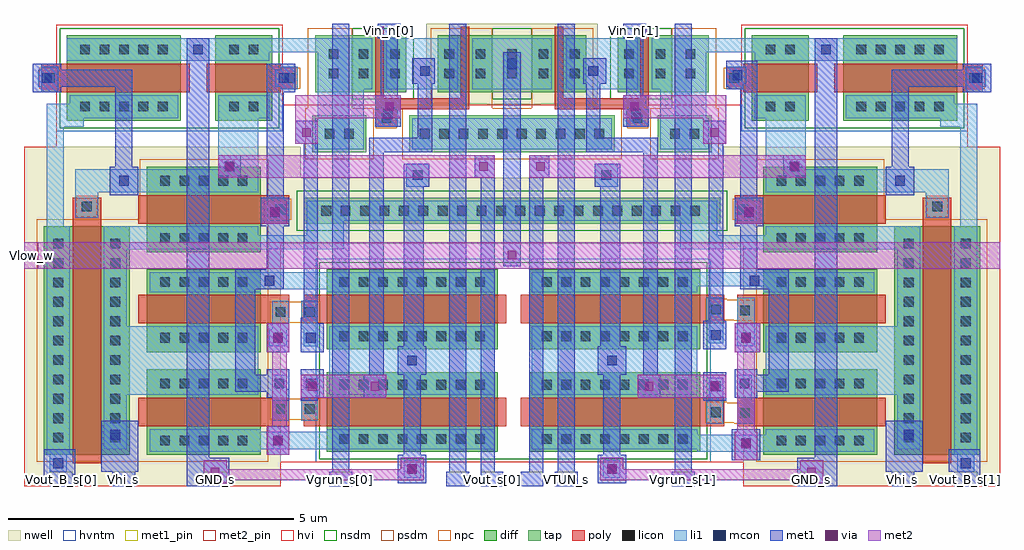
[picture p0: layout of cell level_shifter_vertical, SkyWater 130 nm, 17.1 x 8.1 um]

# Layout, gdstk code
import gdstk
lib = gdstk.Library(unit=1e-6, precision=1e-09)
def R(c, l, rs):  # rectangles x0, y0, x1, y1
    for r in rs: c.add(gdstk.rectangle(r[:2], r[2:], *l))
def A(c, l, x, y, w, h, nx, ny, dx, dy):  # array of equal rectangles
    R(c, l, [(x+i*dx, y+j*dy, x+i*dx+w, y+j*dy+h) for i in range(nx) for j in range(ny)])
nwell = (64, 20)
diff = (65, 20)
tap = (65, 44)
poly = (66, 20)
licon = (66, 44)
li1 = (67, 20)
mcon = (67, 44)
met1_pin = (68, 16)
met1 = (68, 20)
via = (68, 44)
met2_pin = (69, 16)
met2 = (69, 20)
hvi = (75, 20)
nsdm = (93, 44)
psdm = (94, 20)
npc = (95, 20)
hvntm = (125, 20)

level_shifter_vertical = lib.new_cell('level_shifter_vertical')
R(level_shifter_vertical, nwell, [(35.05,15.75,39.55,20), (47.65,15.75,52.15,20), (35.05,20,52.15,21.15), (35.05,21.15,39.9,21.7), (47.3,21.15,52.15,21.7), (43.165,22.445,44.105,22.45), (42.1,22.45,45.1,23.85)])
R(level_shifter_vertical, diff, [(35.4,16.3,36.9,20.3), (37.2,16.3,39.2,17.8), (48,16.3,50,17.8), (50.3,16.3,51.8,20.3), (40.35,16.35,43.35,17.75), (43.9,16.35,46.9,17.75), (37.2,18.1,39.2,19.55), (48,18.1,50,19.55), (40.35,18.15,43.35,19.55), (43.9,18.15,46.9,19.55), (37.2,19.85,39.2,21.35), (48,19.85,50,21.35), (35.8,22.15,37.8,23.65), (38.4,22.15,39.4,23.65), (47.8,22.15,48.8,23.65), (49.4,22.15,51.4,23.65), (40.8,22.65,41.75,23.65), (42.3,22.65,43.25,23.65), (43.95,22.65,44.9,23.65), (45.45,22.65,46.4,23.65)])
R(level_shifter_vertical, tap, [(39.95,20.35,47.25,20.8), (40.1,21.6,41.05,22.25), (41.8,21.6,45.4,22.25), (46.15,21.6,47.1,22.25), (40.15,22.65,40.8,23.65), (43.25,22.65,43.95,23.65), (46.4,22.65,47.05,23.65)])
R(level_shifter_vertical, poly, [(35.9,16.15,36.4,20.8), (50.8,16.15,51.3,20.8), (37.05,16.8,39.7,17.3), (39.95,16.8,43.5,16.9), (43.75,16.8,47.315,17.3), (47.545,16.8,50.15,17.3), (39.91,16.9,43.5,17.3), (37.05,18.6,39.7,19.1), (39.91,18.6,43.5,19), (43.75,18.6,47.315,19.1), (47.545,18.6,50.15,19.1), (39.95,19,43.5,19.1), (37.05,20.35,39.7,20.85), (47.5,20.35,50.15,20.85), (41.2,22.05,41.6,22.35), (45.6,22.05,46,22.35), (41.2,22.35,42.85,22.55), (44.35,22.35,46,22.55), (41.2,22.55,41.35,23.8), (42.7,22.55,42.85,23.8), (44.35,22.55,44.5,23.8), (45.85,22.55,46,23.8), (35.35,22.65,37.95,23.15), (38.25,22.65,39.55,22.7), (47.65,22.65,48.95,22.7), (49.25,22.65,51.85,23.15), (38.25,22.7,39.85,23.1), (47.35,22.7,48.95,23.1), (38.25,23.1,39.55,23.15), (47.65,23.1,48.95,23.15)])
A(level_shifter_vertical, licon, 37.435, 16.465, 0.17, 0.17, 5, 2, 0.34, 1)
A(level_shifter_vertical, licon, 48.235, 16.465, 0.17, 0.17, 5, 2, 0.34, 1)
A(level_shifter_vertical, licon, 40.575, 16.49, 0.17, 0.17, 8, 2, 0.34, 0.95)
A(level_shifter_vertical, licon, 44.125, 16.49, 0.17, 0.17, 8, 2, 0.34, 0.95)
A(level_shifter_vertical, licon, 35.565, 16.515, 0.17, 0.17, 1, 11, 0, 0.34)
A(level_shifter_vertical, licon, 36.565, 16.515, 0.17, 0.17, 1, 11, 0, 0.34)
A(level_shifter_vertical, licon, 50.465, 16.515, 0.17, 0.17, 1, 11, 0, 0.34)
A(level_shifter_vertical, licon, 51.465, 16.515, 0.17, 0.17, 1, 11, 0, 0.34)
A(level_shifter_vertical, licon, 37.435, 18.265, 0.17, 0.17, 5, 2, 0.34, 0.975)
A(level_shifter_vertical, licon, 48.235, 18.265, 0.17, 0.17, 5, 2, 0.34, 0.975)
A(level_shifter_vertical, licon, 40.575, 18.29, 0.17, 0.17, 8, 2, 0.34, 0.95)
A(level_shifter_vertical, licon, 44.125, 18.29, 0.17, 0.17, 8, 2, 0.34, 0.95)
A(level_shifter_vertical, licon, 37.435, 20.015, 0.17, 0.17, 5, 2, 0.34, 1)
A(level_shifter_vertical, licon, 48.235, 20.015, 0.17, 0.17, 5, 2, 0.34, 1)
A(level_shifter_vertical, licon, 40.26, 20.49, 0.17, 0.17, 20, 1, 0.34, 0)
A(level_shifter_vertical, licon, 41.985, 21.84, 0.17, 0.17, 10, 1, 0.34, 0)
A(level_shifter_vertical, licon, 36.035, 22.315, 0.17, 0.17, 5, 2, 0.34, 1)
A(level_shifter_vertical, licon, 49.635, 22.315, 0.17, 0.17, 5, 2, 0.34, 1)
A(level_shifter_vertical, licon, 42.415, 22.895, 0.17, 0.17, 5, 2, 0.55, 0.34)
R(level_shifter_vertical, licon, [(47.595,16.945,47.765,17.115), (47.09,16.96,47.26,17.13), (39.46,17.015,39.63,17.185), (39.97,17.015,40.14,17.185), (39.46,18.715,39.63,18.885), (39.97,18.715,40.14,18.885), (47.595,18.745,47.765,18.915), (47.09,18.76,47.26,18.93), (39.465,20.515,39.635,20.685), (47.565,20.515,47.735,20.685), (36.065,20.565,36.235,20.735), (50.965,20.565,51.135,20.735), (40.32,21.84,40.49,22.01), (40.66,21.84,40.83,22.01), (46.37,21.84,46.54,22.01), (46.71,21.84,46.88,22.01), (41.315,22.12,41.485,22.29), (45.715,22.12,45.885,22.29), (38.645,22.315,38.815,22.485), (38.985,22.315,39.155,22.485), (48.045,22.315,48.215,22.485), (48.385,22.315,48.555,22.485), (35.415,22.815,35.585,22.985), (39.62,22.815,39.79,22.985), (47.41,22.815,47.58,22.985), (51.615,22.815,51.785,22.985), (40.39,22.895,40.56,23.065), (40.915,22.895,41.085,23.065), (41.465,22.895,41.635,23.065), (45.565,22.895,45.735,23.065), (46.115,22.895,46.285,23.065), (46.64,22.895,46.81,23.065), (40.39,23.235,40.56,23.405), (40.915,23.235,41.085,23.405), (41.465,23.235,41.635,23.405), (45.565,23.235,45.735,23.405), (46.115,23.235,46.285,23.405), (46.64,23.235,46.81,23.405), (38.645,23.315,38.815,23.485), (38.985,23.315,39.155,23.485), (48.045,23.315,48.215,23.485), (48.385,23.315,48.555,23.485)])
R(level_shifter_vertical, li1, [(41.7,15.9,42,16.2), (45.2,15.9,45.5,16.2), (35.5,16,35.8,16.3), (51.4,16,51.7,16.3), (35.45,16.3,35.85,20.3), (51.35,16.3,51.75,20.3), (37.25,16.35,39.2,16.4), (46.85,16.35,49.95,16.4), (36.45,16.4,36.85,17.35), (37.25,16.4,43.3,16.7), (43.95,16.4,49.95,16.65), (50.35,16.4,50.75,17.35), (43.95,16.65,46.855,16.7), (48.05,16.65,49.95,16.75), (37.25,16.7,39.2,16.75), (40.35,16.7,43.3,16.75), (43.95,16.7,46.85,16.75), (47.55,16.84,47.85,17.25), (47,16.845,47.3,17.25), (39.4,16.9,39.69,17.25), (39.91,16.9,40.2,17.25), (39.4,17.25,39.7,17.45), (39.9,17.25,40.2,17.45), (47.05,17.25,47.3,17.65), (47.55,17.25,47.8,17.7), (36.45,17.35,39.15,18.55), (40.4,17.35,43.3,18.55), (43.95,17.35,46.85,18.55), (48.05,17.35,50.75,18.55), (39.4,17.45,39.65,17.7), (39.95,17.45,40.2,17.7), (39.35,18.2,39.65,18.5), (39.95,18.2,40.2,18.5), (47.55,18.2,47.85,19.05), (47.05,18.25,47.3,18.645), (39.4,18.5,39.7,18.7), (39.9,18.5,40.2,18.7), (36.45,18.55,36.85,19.9), (50.35,18.55,50.75,19.9), (47,18.645,47.3,19.05), (39.4,18.7,39.69,19), (39.91,18.7,40.2,19), (37.25,19.15,39.2,19.2), (40.35,19.15,43.3,19.2), (43.95,19.15,46.85,19.25), (48,19.15,49.95,19.25), (37.25,19.2,43.3,19.5), (43.95,19.25,49.95,19.5), (36.45,19.9,40.65,20.15), (46.55,19.9,50.75,20.15), (36.45,20.15,39.15,20.3), (40,20.15,40.65,20.4), (46.55,20.15,47.2,20.4), (48.05,20.15,50.75,20.3), (35.45,20.3,35.75,22.05), (51.45,20.3,51.75,22.05), (39.3,20.4,39.7,20.8), (40,20.4,47.2,20.75), (47.5,20.4,47.9,20.8), (35.95,20.45,36.35,20.9), (50.85,20.45,51.25,20.9), (35.95,20.9,39.15,21.3), (48.05,20.9,51.25,21.3), (41.75,21,42.15,21.4), (45.05,21,45.45,21.4), (38.45,21.3,39.15,22.2), (48.05,21.3,48.75,22.2), (40.15,21.65,41,22.2), (41.85,21.65,45.35,22.2), (46.2,21.65,47.05,22.2), (35.45,22.05,36.1,22.2), (41.2,22.05,41.6,22.35), (45.6,22.05,46,22.35), (51.1,22.05,51.75,22.2), (35.45,22.2,37.75,22.45), (38.45,22.2,39.35,22.6), (40.2,22.2,41,22.7), (46.2,22.2,47,22.7), (47.85,22.2,48.75,22.6), (49.45,22.2,51.75,22.45), (41.3,22.35,41.55,22.4), (45.65,22.35,45.9,22.4), (35.85,22.45,37.75,22.6), (49.45,22.45,51.35,22.6), (35.35,22.65,35.65,22.75), (51.55,22.65,51.85,22.75), (39.55,22.7,39.85,22.75), (40.2,22.7,41.15,23.35), (41.4,22.7,42.65,23.6), (42.9,22.7,44.3,23.6), (44.55,22.7,45.8,23.6), (46.05,22.7,47,23.35), (47.35,22.7,47.65,22.8), (35.3,22.75,35.65,23.05), (39.45,22.75,39.85,23.05), (51.55,22.75,51.9,23.05), (47.35,22.8,47.7,23.1), (35.35,23.05,35.65,23.1), (39.55,23.05,39.85,23.1), (51.55,23.05,51.85,23.1), (35.8,23.2,39.35,23.35), (47.85,23.2,51.4,23.35), (35.8,23.35,41.15,23.6), (46.05,23.35,51.4,23.6)])
R(level_shifter_vertical, mcon, [(41.765,15.965,41.935,16.135), (45.265,15.965,45.435,16.135), (35.565,16.065,35.735,16.235), (51.465,16.065,51.635,16.235), (47.615,16.415,47.785,16.585), (39.415,16.465,39.585,16.635), (36.565,16.565,36.735,16.735), (50.465,16.565,50.635,16.735), (47.09,17.415,47.26,17.585), (39.44,17.465,39.61,17.635), (39.99,17.465,40.16,17.635), (47.59,17.465,47.76,17.635), (41.765,17.865,41.935,18.035), (45.265,17.865,45.435,18.035), (39.415,18.265,39.585,18.435), (39.99,18.265,40.16,18.435), (47.615,18.265,47.785,18.435), (47.09,18.315,47.26,18.485), (39.265,19.265,39.435,19.435), (47.765,19.265,47.935,19.435), (39.365,20.465,39.535,20.635), (47.665,20.465,47.835,20.635), (36.715,21.015,36.885,21.185), (50.315,21.015,50.485,21.185), (41.865,21.115,42.035,21.285), (45.165,21.115,45.335,21.285), (38.565,21.265,38.735,21.435), (48.465,21.265,48.635,21.435), (41.34,22.19,41.51,22.36), (45.69,22.19,45.86,22.36), (35.365,22.815,35.535,22.985), (39.515,22.815,39.685,22.985), (51.665,22.815,51.835,22.985), (47.465,22.865,47.635,23.035), (41.99,22.94,42.16,23.11), (44.94,22.94,45.11,23.11), (43.515,23.065,43.685,23.235), (38.015,23.315,38.185,23.485), (49.015,23.315,49.185,23.485)])
R(level_shifter_vertical, met1_pin, [(35.5,15.75,35.9,16), (36.6,15.75,37,16), (38.2,15.75,38.6,16), (40.4,15.75,40.8,16), (42.45,15.75,42.85,16), (43.05,15.75,43.45,16), (43.75,15.75,44.15,16), (44.35,15.75,44.75,16), (46.4,15.75,46.8,16), (48.65,15.75,49.05,16), (50.25,15.75,50.65,16), (51.35,15.75,51.75,16), (41.25,23.6,41.65,23.85), (45.55,23.6,45.95,23.85)])
R(level_shifter_vertical, met1, [(35.5,15.75,35.9,15.9), (36.6,15.75,37,16), (37.9,15.75,38.65,16.25), (40.4,15.75,40.8,16), (42.45,15.75,42.85,16), (43.05,15.75,43.45,16), (43.75,15.75,44.15,16), (44.35,15.75,44.75,16), (46.4,15.75,46.8,16), (48.6,15.75,49.3,16.25), (50.25,15.75,50.65,16), (51.35,15.75,51.75,15.9), (41.6,15.8,42.1,16.3), (45.1,15.8,45.6,16.3), (35.4,15.9,35.9,15.95), (51.35,15.9,51.8,16), (35.4,15.95,35.95,16.4), (36.4,16,37.05,16.9), (40.45,16,40.75,23.85), (42.5,16,42.8,23.85), (43.05,16,43.3,21.15), (43.9,16,44.15,21.15), (44.4,16,44.7,23.85), (46.45,16,46.75,23.85), (50.15,16,50.8,16.9), (51.25,16,51.8,16.4), (47.45,16.2,47.95,16.75), (37.9,16.25,38.3,23.6), (48.9,16.25,49.3,23.6), (39.3,16.3,39.7,16.8), (41.7,16.3,42,17.7), (45.2,16.3,45.5,17.7), (39.4,17.25,39.7,17.3), (39.9,17.25,40.2,17.3), (46.95,17.25,47.35,17.75), (39.3,17.3,39.7,17.4), (39.9,17.3,40.3,17.8), (41,17.3,41.4,17.7), (45.8,17.3,46.2,17.7), (47.5,17.3,47.9,17.4), (38.75,17.4,39.7,17.7), (47.5,17.4,48.45,17.7), (38.75,17.7,39.1,19.2), (39.3,17.7,39.7,17.8), (41.1,17.7,41.35,21.6), (41.6,17.7,42.1,18.2), (45.1,17.7,45.6,18.2), (45.9,17.7,46.15,21.6), (47.5,17.7,47.9,17.8), (48.1,17.7,48.45,19.2), (39.3,18.1,39.7,18.6), (39.9,18.1,40.3,18.6), (47.5,18.1,47.95,18.6), (46.95,18.15,47.35,18.65), (41.7,18.2,42.05,21), (45.15,18.2,45.5,21), (39.9,18.6,40.2,18.7), (47.05,18.65,47.3,21.75), (39.95,18.7,40.2,21.75), (38.75,19.2,39.6,19.55), (47.6,19.2,48.45,19.55), (39.3,19.55,39.6,20.3), (47.6,19.55,47.9,20.3), (43.45,19.6,43.75,23.35), (39.2,20.3,39.7,20.8), (47.5,20.3,48,20.8), (39.3,20.8,39.6,22.65), (47.6,20.8,47.9,22.7), (36.55,20.85,37.05,21.35), (50.15,20.85,50.65,21.35), (41.7,21,42.15,21.4), (45.05,21,45.5,21.4), (38.45,21.15,38.85,21.55), (42.95,21.15,43.3,21.55), (43.9,21.15,44.25,21.55), (48.35,21.15,48.75,21.55), (36.65,21.35,36.95,22.75), (50.25,21.35,50.55,22.75), (41.1,21.6,42.2,21.85), (44.9,21.6,46.15,21.85), (39.8,21.75,40.2,22.15), (46.95,21.75,47.35,22.15), (41.95,21.85,42.2,22.8), (44.9,21.85,45.15,22.8), (41.2,22.05,41.65,22.6), (45.55,22.05,46,22.4), (45.55,22.4,45.95,22.6), (41.3,22.6,41.6,23.6), (45.6,22.6,45.9,23.6), (35.2,22.65,35.7,22.75), (39.3,22.65,39.8,23.15), (51.5,22.65,52,22.75), (47.4,22.7,47.9,22.75), (35.2,22.75,36.95,23.05), (47.35,22.75,47.9,23.2), (50.25,22.75,52,23.05), (41.85,22.8,42.25,23.25), (44.85,22.8,45.25,23.25), (35.2,23.05,35.7,23.15), (51.5,23.05,52,23.15), (41.25,23.6,41.65,23.85), (45.55,23.6,45.95,23.85)])
R(level_shifter_vertical, via, [(38.325,15.925,38.475,16.075), (48.775,15.925,48.925,16.075), (41.775,15.975,41.925,16.125), (45.275,15.975,45.425,16.125), (47.625,16.425,47.775,16.575), (39.425,16.475,39.575,16.625), (40.025,17.425,40.175,17.575), (41.125,17.425,41.275,17.575), (45.925,17.425,46.075,17.575), (47.075,17.425,47.225,17.575), (39.425,18.275,39.575,18.425), (47.625,18.275,47.775,18.425), (43.525,19.725,43.675,19.875), (39.375,20.475,39.525,20.625), (47.675,20.475,47.825,20.625), (38.575,21.275,38.725,21.425), (43.025,21.275,43.175,21.425), (44.025,21.275,44.175,21.425), (48.475,21.275,48.625,21.425), (39.925,21.875,40.075,22.025), (47.075,21.875,47.225,22.025), (41.375,22.325,41.525,22.475), (45.675,22.325,45.825,22.475)])
R(level_shifter_vertical, met2_pin, [(35.05,19.56,35.3,20.02)])
R(level_shifter_vertical, met2, [(38.2,15.8,38.6,15.85), (48.65,15.8,49.05,15.85), (38.2,15.85,42.05,16.05), (45.15,15.85,49.05,16.05), (38.2,16.05,38.6,16.2), (41.65,16.05,42.05,16.25), (45.15,16.05,45.55,16.25), (48.65,16.05,49.05,16.2), (47.5,16.2,47.9,16.7), (39.3,16.3,39.7,16.8), (47.55,16.7,47.85,18.1), (39.4,16.8,39.65,18.1), (39.9,17.3,41.4,17.7), (45.8,17.3,47.35,17.7), (39.3,18.1,39.7,18.6), (47.5,18.1,47.95,18.6), (35.05,19.56,52.15,20.02), (39.25,20.35,39.65,20.75), (47.55,20.35,47.95,20.75), (38.45,21.15,43.3,21.55), (43.9,21.15,48.75,21.55), (39.8,21.75,40.2,22.2), (46.95,21.75,47.35,22.2), (39.8,22.2,41.65,22.6), (45.55,22.2,47.35,22.6)])
R(level_shifter_vertical, hvi, [(35.05,15.75,39.55,16.165), (47.65,15.75,52.15,16.165), (35.05,16.165,52.15,21.7), (35.615,21.7,51.585,22.435), (35.615,22.435,39.585,23.835), (47.615,22.435,51.585,23.835)])
R(level_shifter_vertical, nsdm, [(40.225,16.225,47.025,19.675), (39.825,20.225,47.375,20.925), (35.675,22.025,39.525,23.775), (47.675,22.025,51.525,23.775), (40.8,22.525,41.875,23.775), (43.25,22.525,43.95,23.775), (45.325,22.525,46.4,23.775)])
R(level_shifter_vertical, psdm, [(35.275,16.175,39.325,20.425), (47.875,16.175,51.925,20.425), (37.075,20.425,39.325,21.475), (47.875,20.425,50.125,21.475), (39.975,21.475,41.175,22.375), (41.675,21.475,45.525,22.375), (46.025,21.475,47.225,22.375), (40.025,22.375,40.8,23.775), (42.175,22.375,43.25,23.775), (43.95,22.375,45.025,23.775), (46.4,22.375,47.175,23.775)])
R(level_shifter_vertical, npc, [(47.495,16.845,47.865,16.86), (46.99,16.86,47.865,17.215), (39.36,16.915,40.24,17.285), (46.99,17.215,47.36,17.23), (39.36,18.615,40.24,18.985), (47.495,18.645,47.865,18.66), (46.99,18.66,47.865,19.015), (46.99,19.015,47.36,19.03), (39.365,20.415,39.735,20.785), (47.465,20.415,47.835,20.785), (35.965,20.465,36.335,20.835), (50.865,20.465,51.235,20.835), (41.215,22.02,41.585,22.39), (45.615,22.02,45.985,22.39), (35.315,22.715,35.685,23.085), (39.52,22.715,39.89,23.085), (47.31,22.715,47.68,23.085), (51.515,22.715,51.885,23.085)])
R(level_shifter_vertical, hvntm, [(40.165,16.165,47.085,19.735), (35.615,21.965,39.585,23.835), (47.615,21.965,51.585,23.835)])
level_shifter_vertical.add(gdstk.Label('GND_s', (38.4,15.875), layer=68, texttype=5))
level_shifter_vertical.add(gdstk.Label('GND_s', (48.85,15.875), layer=68, texttype=5))
level_shifter_vertical.add(gdstk.Label('Vgrun_s[0]', (40.6,15.875), layer=68, texttype=5))
level_shifter_vertical.add(gdstk.Label('Vgrun_s[1]', (46.6,15.875), layer=68, texttype=5))
level_shifter_vertical.add(gdstk.Label('Vhi_s', (50.45,15.875), layer=68, texttype=5))
level_shifter_vertical.add(gdstk.Label('Vhi_s', (36.8,15.875), layer=68, texttype=5))
level_shifter_vertical.add(gdstk.Label('Vin_n[0]', (41.45,23.725), layer=68, texttype=5))
level_shifter_vertical.add(gdstk.Label('Vin_n[1]', (45.75,23.725), layer=68, texttype=5))
level_shifter_vertical.add(gdstk.Label('Vlow_w', (35.175,19.79), layer=69, texttype=5))
level_shifter_vertical.add(gdstk.Label('Vout_s[0]', (43.25,15.875), layer=68, texttype=5))
level_shifter_vertical.add(gdstk.Label('Vout_s[1]', (43.95,15.875), layer=68, texttype=5))
level_shifter_vertical.add(gdstk.Label('Vout_B_s[0]', (35.7,15.875), layer=68, texttype=5))
level_shifter_vertical.add(gdstk.Label('Vout_B_s[1]', (51.55,15.875), layer=68, texttype=5))
level_shifter_vertical.add(gdstk.Label('VTUN_s', (44.55,15.875), layer=68, texttype=5))
level_shifter_vertical.add(gdstk.Label('VTUN_s', (42.65,15.875), layer=68, texttype=5))

lib.write_gds('level_shifter_vertical.gds')
